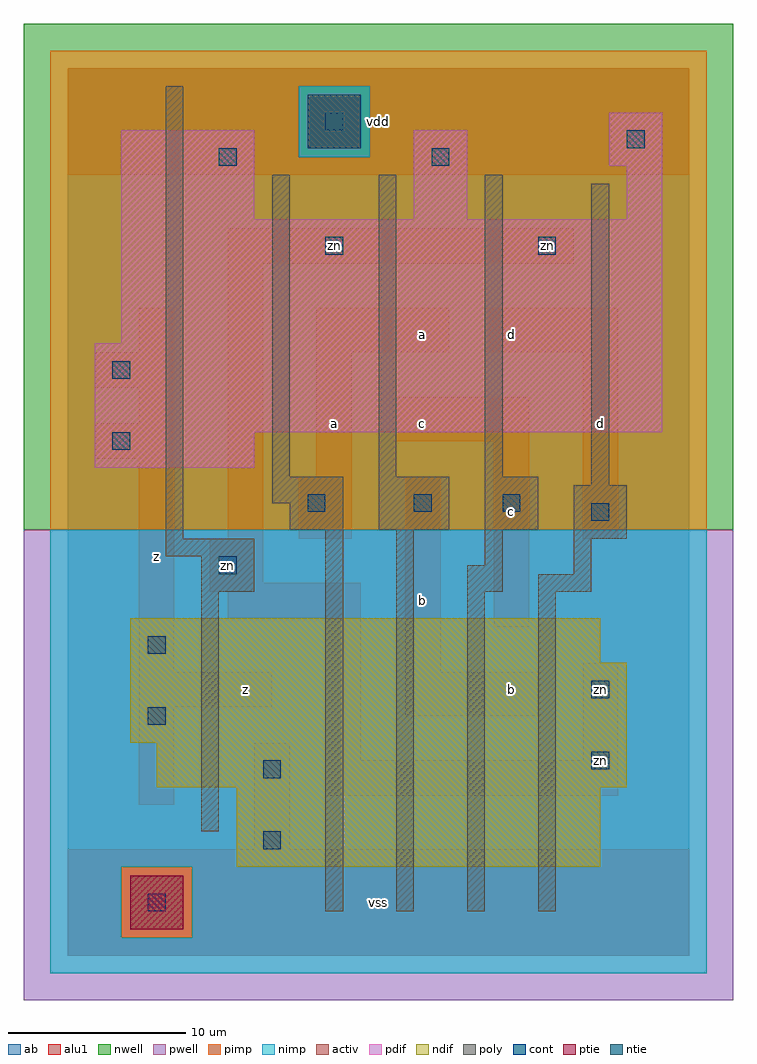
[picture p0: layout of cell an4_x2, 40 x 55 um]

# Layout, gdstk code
import gdstk
lib = gdstk.Library(unit=1e-6, precision=1e-09)
def R(c, l, rs):  # rectangles x0, y0, x1, y1
    for r in rs: c.add(gdstk.rectangle(r[:2], r[2:], *l))
def A(c, l, x, y, w, h, nx, ny, dx, dy):  # array of equal rectangles
    R(c, l, [(x+i*dx, y+j*dy, x+i*dx+w, y+j*dy+h) for i in range(nx) for j in range(ny)])
ndif = (3, 0)
pdif = (4, 0)
ntie = (5, 0)
ptie = (6, 0)
cont = (25, 0)
pwell = (41, 0)
nwell = (42, 0)
activ = (43, 0)
pimp = (44, 0)
nimp = (45, 0)
poly = (46, 0)
alu1 = (49, 0)
ab = (63, 0)

an4_x2 = lib.new_cell('an4_x2')
R(an4_x2, ndif, [(9.5,5,30,9.5), (5,9.5,31.5,12), (3.5,12,31.5,16.5), (3.5,16.5,30,19)])
R(an4_x2, pdif, [(1.5,27.5,10.5,29.5), (1.5,29.5,33.5,34.5), (3,34.5,33.5,41.5), (3,41.5,10.5,46.5), (19.5,41.5,22.5,46.5), (31.5,41.5,33.5,44.5), (30.5,44.5,33.5,47.5)])
R(an4_x2, ntie, [(13.5,45.5,16.5,48.5)])
R(an4_x2, ptie, [(3.5,1.5,6.5,4.5)])
R(an4_x2, cont, [(4.5,2.5,5.5,3.5), (11,6,12,7), (11,10,12,11), (29.5,10.5,30.5,11.5), (4.5,13,5.5,14), (29.5,14.5,30.5,15.5), (4.5,17,5.5,18), (8.5,21.5,9.5,22.5), (29.5,24.5,30.5,25.5), (13.5,25,14.5,26), (19.5,25,20.5,26), (24.5,25,25.5,26), (2.5,28.5,3.5,29.5), (2.5,32.5,3.5,33.5), (14.5,39.5,15.5,40.5), (26.5,39.5,27.5,40.5), (8.5,44.5,9.5,45.5), (20.5,44.5,21.5,45.5), (31.5,45.5,32.5,46.5), (14.5,46.5,15.5,47.5)])
R(an4_x2, pwell, [(-2.5,-2.5,37.5,24)])
R(an4_x2, nwell, [(-2.5,24,37.5,52.5)])
R(an4_x2, activ, [(3.5,1.5,6.5,4.5), (9.5,5,30,9.5), (5,9.5,31.5,12), (3.5,12,31.5,16.5), (3.5,16.5,30,19), (1.5,27.5,10.5,29.5), (1.5,29.5,33.5,34.5), (3,34.5,33.5,41.5), (3,41.5,10.5,46.5), (19.5,41.5,22.5,46.5), (31.5,41.5,33.5,44.5), (30.5,44.5,33.5,47.5), (13.5,45.5,16.5,48.5)])
R(an4_x2, pimp, [(3,1,7,5), (-1,24,36,45), (-1,45,13,49), (17,45,36,49), (-1,49,36,51)])
R(an4_x2, nimp, [(-1,-1,36,1), (-1,1,3,5), (7,1,36,5), (-1,5,36,24), (13,45,17,49)])
A(an4_x2, poly, 11.5, 27, 1, 17, 3, 1, 6, 0)
R(an4_x2, poly, [(14.5,2.5,15.5,24), (18.5,2.5,19.5,24), (22.5,2.5,23.5,20.5), (26.5,2.5,27.5,20.5), (7.5,7,8.5,20.5), (7.5,20.5,10.5,22.5), (22.5,20.5,24.5,22), (26.5,20.5,29.5,21.5), (28.5,21.5,29.5,23.5), (23.5,22,24.5,24), (5.5,22.5,10.5,23.5), (5.5,23.5,6.5,49), (28.5,23.5,31.5,26.5), (12.5,24,15.5,25.5), (17.5,24,21.5,27), (23.5,24,26.5,27), (11.5,25.5,15.5,27), (29.5,26.5,30.5,43.5)])
R(an4_x2, alu1, [(0,0,35,6), (0,0,35,6), (10.5,6,12.5,12), (10.5,6,12.5,12), (4,8.5,6,14), (4,8.5,6,14), (14.5,9,31,11), (14.5,9,31,11), (14.5,11,16.5,19), (14.5,11,16.5,19), (29,11,31,16.5), (29,11,31,16.5), (19,13.5,26.5,16), (19,13.5,26.5,16), (4,14,11.5,16), (4,14,11.5,16), (4,16,6,28), (4,16,6,28), (19,16,21,27), (19,16,21,27), (24,18.5,26,29), (24,18.5,26,29), (9,19,16.5,20.5), (9,19,16.5,20.5), (8,20.5,16.5,21), (8,20.5,16.5,21), (8,21,11,23.5), (8,21,11,23.5), (9,23.5,11,39), (9,23.5,11,39), (13,23.5,16,27), (13,23.5,16,27), (29,23.5,31,34), (29,23.5,31,34), (14,27,16,34), (14,27,16,34), (1.5,28,6,30), (1.5,28,6,30), (18.5,29,26,31.5), (18.5,29,26,31.5), (4,30,6,32), (4,30,6,32), (1.5,32,6,34), (1.5,32,6,34), (4,34,6,36.5), (4,34,6,36.5), (14,34,21.5,36.5), (14,34,21.5,36.5), (23.5,34,31,36.5), (23.5,34,31,36.5), (9,39,28.5,41), (9,39,28.5,41), (0,44,35,50), (0,44,35,50)])
R(an4_x2, ab, [(0,0,35,50)])
an4_x2.add(gdstk.Label('zn', (9,22), layer=49, texttype=0))
an4_x2.add(gdstk.Label('zn', (15,40), layer=49, texttype=0))
an4_x2.add(gdstk.Label('zn', (30,11), layer=49, texttype=0))
an4_x2.add(gdstk.Label('zn', (30,15), layer=49, texttype=0))
an4_x2.add(gdstk.Label('zn', (27,40), layer=49, texttype=0))
an4_x2.add(gdstk.Label('z', (5,22.5), layer=49, texttype=0))
an4_x2.add(gdstk.Label('z', (10,15), layer=49, texttype=0))
an4_x2.add(gdstk.Label('a', (15,30), layer=49, texttype=0))
an4_x2.add(gdstk.Label('vss', (17.5,3), layer=49, texttype=0))
an4_x2.add(gdstk.Label('b', (20,20), layer=49, texttype=0))
an4_x2.add(gdstk.Label('b', (25,15), layer=49, texttype=0))
an4_x2.add(gdstk.Label('c', (25,25), layer=49, texttype=0))
an4_x2.add(gdstk.Label('d', (25,35), layer=49, texttype=0))
an4_x2.add(gdstk.Label('a', (20,35), layer=49, texttype=0))
an4_x2.add(gdstk.Label('c', (20,30), layer=49, texttype=0))
an4_x2.add(gdstk.Label('vdd', (17.5,47), layer=49, texttype=0))
an4_x2.add(gdstk.Label('d', (30,30), layer=49, texttype=0))

lib.write_gds('an4_x2.gds')
